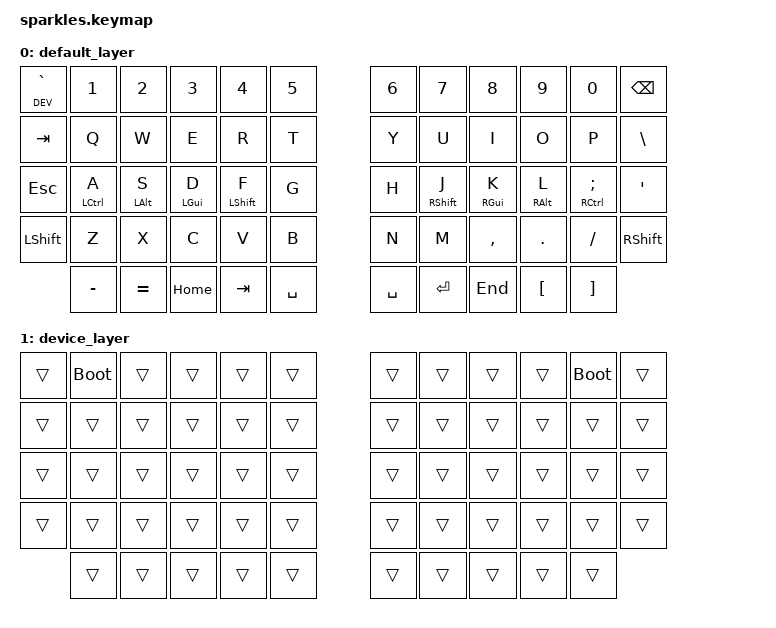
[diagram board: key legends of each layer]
#include <behaviors.dtsi>
#include <dt-bindings/zmk/keys.h>

#define DEV 1 

/ {
    behaviors {
        hml: home_row_mod_left {
            compatible = "zmk,behavior-hold-tap";
            #binding-cells = <2>;
            flavor = "balanced";
            require-prior-idle-ms = <150>;
            tapping-term-ms = <280>;
            quick-tap-ms = <175>;
            bindings = <&kp>, <&kp>;
            hold-trigger-key-positions = < 25 26 27 28 31 32 33 34 >; // List of keys on the right side of the keyboard
            hold-trigger-on-release;
        };
    };

    keymap {
        compatible = "zmk,keymap";

        default_layer { // Layer 0
            bindings = <
	            &lt DEV GRAVE &kp N1   &kp N2      &kp N3      &kp N4       &kp N5                         &kp N6    &kp N7       &kp N8      &kp N9      &kp N0           &kp BSPC
              &kp TAB   &kp Q        &kp W       &kp E       &kp R        &kp T                          &kp Y     &kp U        &kp I       &kp O       &kp P           &kp BSLH
		          &kp ESC   &hml LCTRL A &hml LALT S &hml LGUI D &hml LSHFT F &kp G                          &kp H     &hml RSHFT J &hml RGUI K &hml RALT L &hml RCTRL SEMI &kp SQT
              &kp LSHFT &kp Z        &kp X       &kp C       &kp V        &kp B                          &kp N     &kp M        &kp COMMA   &kp DOT     &kp SLASH       &kp RSHFT
			                               &kp MINUS   &kp EQUAL   &kp HOME  &kp TAB &kp SPACE    &kp SPACE &kp ENTER &kp END  &kp LBKT    &kp RBKT
            >;
        };

        device_layer { // Layer 1
            bindings = <
	        &trans &bootloader &trans   &trans   &trans        &trans                          &trans     &trans        &trans       &trans       &bootloader           &trans
                &trans &trans      &trans   &trans   &trans        &trans                          &trans     &trans        &trans       &trans       &trans           &trans
		&trans &trans      &trans   &trans   &trans        &trans                          &trans     &trans        &trans       &trans       &trans           &trans
                &trans &trans      &trans   &trans   &trans        &trans                          &trans     &trans        &trans       &trans       &trans           &trans
			           &trans   &trans   &trans        &trans    &trans         &trans &trans     &trans        &trans       &trans
            >;
        };
    };
 };
